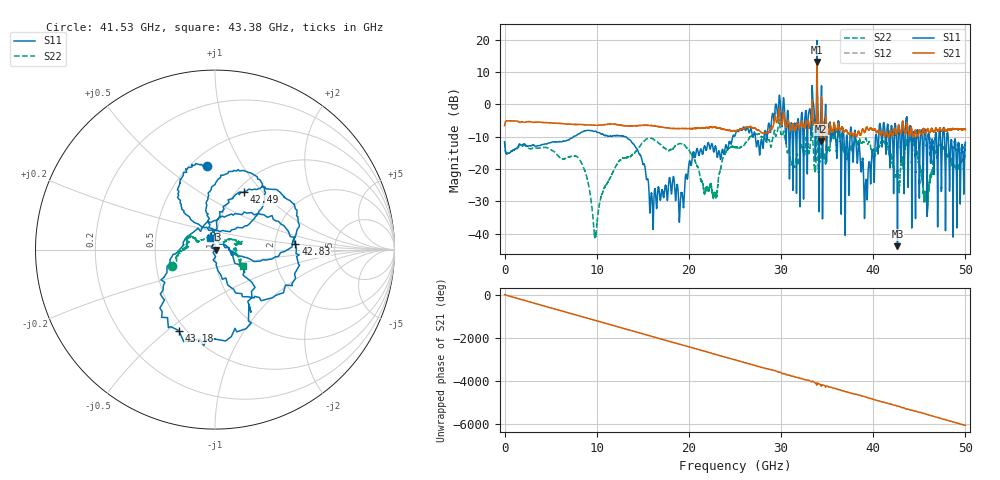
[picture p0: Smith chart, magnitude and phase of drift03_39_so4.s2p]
!Created with skrf (http://scikit-rf.org).
# Hz S RI R 50.0
!freq ReS11 ImS11 ReS21 ImS21 ReS12 ImS12 ReS22 ImS22
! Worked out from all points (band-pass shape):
!   10001 points, 300 kHz to 50 GHz, reference 50 ohm
!   highest |S21| = 13.18 dB at 33.9 GHz (marker M1); lowest = -11.4 dB at 34.32 GHz (marker M2)
!   |S21| within 3 dB of the highest: 33.89019 GHz to 33.90518 GHz (14.99 MHz wide, 0.0442 % of centre)
!   lowest |S11| = -43.9 dB at 42.63 GHz (marker M3), VSWR 1.01, Z = 50.6 - j0.0243 ohm
!   |S11| at or under -10 dB: start of sweep to 7.485 GHz; 13.13 GHz to 24.74 GHz (11.61 GHz wide, 61.3 % of centre); 38.09 GHz to 40.25 GHz (2.163 GHz wide, 5.52 % of centre) (the widest 3 of 46)
!   |S22| runs from -41.3 to 5.6 dB; largest |S21 - S12| = 0.35
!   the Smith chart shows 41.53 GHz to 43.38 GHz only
!   S11 on the Smith chart (normalised r, x): 41.53 GHz: 0.60, +0.71; 42.49 GHz: 1.08, +0.79; 42.83 GHz: 2.62, +0.20; 43.18 GHz: 0.46, -0.55; 43.38 GHz: 0.94, +0.13
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300000  -0.2343 -0.1206  0.464 0.0796  0.465 0.0811  -0.2343 -0.1257
1.440291e9  0.21 0.0647  -0.548 -0.0294  -0.5481 -0.0293  0.2111 -0.00434
2.915283e9  -0.2121 -0.088  0.5341 0.0512  0.5344 0.0511  -0.2019 0.0403
4.415274e9  0.2063 0.1322  -0.5218 -0.042  -0.5217 -0.042  0.1981 -0.0872
8.33525e9  0.2884 -0.2332  0.1461 0.466  0.1464 0.4662  -0.073 -0.101
9.845241e9  -0.3638 0.1289  -0.1478 -0.4526  -0.1485 -0.4521  0.0087 0.0023
1.66702e10  0.0271 0.0446  -0.3784 0.2533  -0.3788 0.2536  -0.1275 -0.2193
2.500015e10  -0.3274 -0.0149  -0.2558 -0.2962  -0.2542 -0.2986  -0.2125 0.0268
2.895513e10  -0.327 0.4324  -0.2884 0.3263  -0.2983 0.2899  0.0643 0.2206
3.006512e10  0.3993 0.2624  0.4493 -0.1979  0.4522 -0.1825  0.1732 -0.2976
3.171011e10  -0.0922 0.1897  -0.3595 0.3568  -0.3617 0.3561  0.0658 0.1589
3.33351e10  0.6239 -0.8254  0.2462 -0.8476  0.2502 -0.8298  -0.1964 -0.4242
3.38951e10  -2.715 -9.436  -4.471 0.9057  -4.171 1.083  0.5449 1.826
3.432009e10  -0.7782 -0.000509  -0.1806 0.1985  -0.2419 0.1788  0.1427 -0.073
4.152505e10  -0.0429 0.4667  0.3339 0.1188  0.3333 0.1134  -0.2368 -0.0899
4.167005e10  -0.202 0.3032  0.3141 0.00211  0.3156 0.00906  -0.1919 -0.00566
4.248505e10  0.1607 0.3193  0.00975 -0.3501  0.0104 -0.3515  -0.0296 0.0695
4.263004e10  0.00636 -0.00024  -0.1698 -0.3385  -0.1629 -0.3442  -0.0233 0.0912
4.282504e10  0.4485 0.0304  -0.249 -0.3356  -0.2519 -0.3348  0.0364 0.0354
4.317504e10  -0.2021 -0.4509  -0.5121 0.0812  -0.5167 0.0716  0.1397 0.0425
4.337504e10  -0.0257 0.0669  -0.3514 0.1537  -0.3571 0.1551  0.1567 -0.0926
5e10  -0.1242 -0.2293  0.1419 0.384  0.1411 0.385  -0.0557 -0.144
